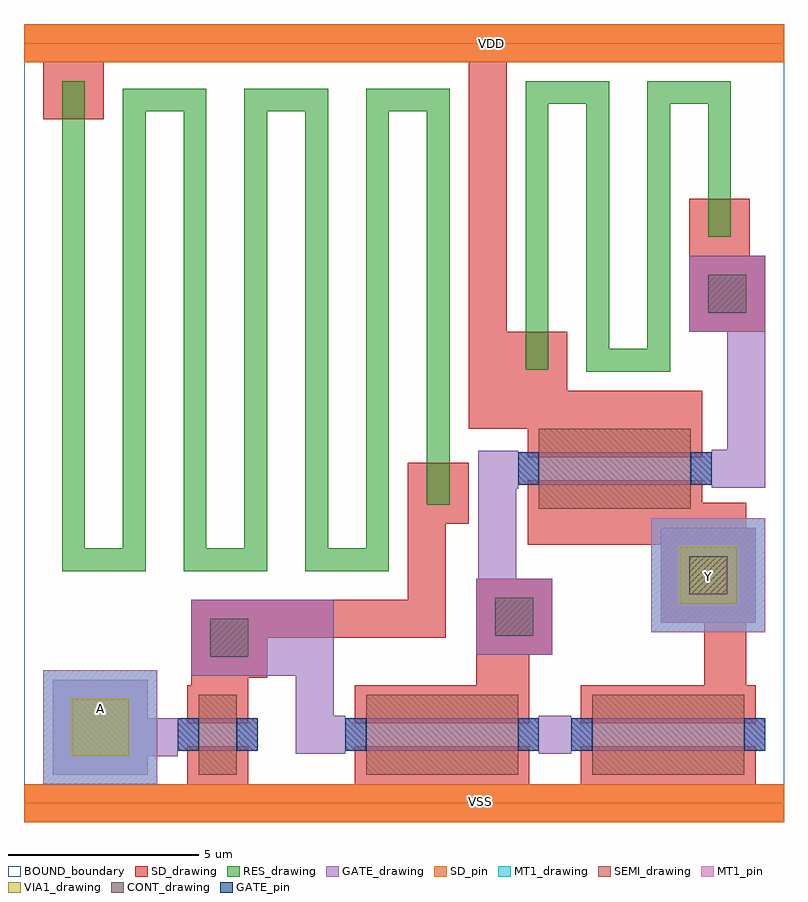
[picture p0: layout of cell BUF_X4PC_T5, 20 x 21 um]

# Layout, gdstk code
from math import pi, radians
import gdstk
lib = gdstk.Library(unit=1e-6, precision=1e-09)
def R(c, l, rs):  # rectangles x0, y0, x1, y1
    for r in rs: c.add(gdstk.rectangle(r[:2], r[2:], *l))
def P(c, l, *ps):  # polygons
    for p in ps: c.add(gdstk.Polygon(p, *l))
RES_drawing = (1, 0)
SEMI_drawing = (3, 0)
SD_drawing = (10, 0)
SD_pin = (10, 3)
GATE_drawing = (11, 0)
GATE_pin = (11, 3)
MT1_drawing = (20, 0)
MT1_pin = (20, 3)
CONT_drawing = (30, 0)
VIA1_drawing = (41, 0)
BOUND_boundary = (150, 5)

nch_cdns_772544864100 = lib.new_cell('nch_CDNS_772544864100')
R(nch_cdns_772544864100, SEMI_drawing, [(-1.05,-2,1.05,2)])
R(nch_cdns_772544864100, SD_drawing, [(-1.3,-2.3,-0.3,2.3), (0.3,-2.3,1.3,2.3)])
R(nch_cdns_772544864100, GATE_drawing, [(-0.425,-2.55,0.425,2.55)])
R(nch_cdns_772544864100, GATE_pin, [(-0.425,-2.55,0.425,-2), (-0.425,2,0.425,2.55)])

nch_cdns_772544864101 = lib.new_cell('nch_CDNS_772544864101')
R(nch_cdns_772544864101, SEMI_drawing, [(-1.05,-0.5,1.05,0.5)])
R(nch_cdns_772544864101, SD_drawing, [(-1.3,-0.8,-0.3,0.8), (0.3,-0.8,1.3,0.8)])
R(nch_cdns_772544864101, GATE_drawing, [(-0.425,-1.05,0.425,1.05)])
R(nch_cdns_772544864101, GATE_pin, [(-0.425,-1.05,0.425,-0.5), (-0.425,0.5,0.425,1.05)])

gate_mt1_cdns_7725448641 = lib.new_cell('GATE_MT1_CDNS_772544864100')
R(gate_mt1_cdns_7725448641, GATE_drawing, [(-1.25,-1.25,1.25,1.25)])
R(gate_mt1_cdns_7725448641, MT1_drawing, [(-1.25,-1.25,1.25,1.25)])
R(gate_mt1_cdns_7725448641, VIA1_drawing, [(-0.75,-0.75,0.75,0.75)])

sd_gate_cdns_77254486410 = lib.new_cell('SD_GATE_CDNS_772544864101')
R(sd_gate_cdns_77254486410, SD_drawing, [(-1,-1,1,1)])
R(sd_gate_cdns_77254486410, GATE_drawing, [(-1,-1,1,1)])
R(sd_gate_cdns_77254486410, CONT_drawing, [(-0.5,-0.5,0.5,0.5)])

buf_x4pc_t5 = lib.new_cell('BUF_X4PC_T5')
R(buf_x4pc_t5, SD_drawing, [(4.4,3.1,5.9,3.3), (16.75,4.75,19.25,7.25), (10.1,7.35,11.7,8.95), (12.7,10.85,14.3,12.4), (0.5,18,2.1,19.5)])
R(buf_x4pc_t5, SD_pin, [(0,-0.5,20,0.5), (0,19.5,20,20.5)])
R(buf_x4pc_t5, GATE_drawing, [(4.4,3.35,8.15,5.35)])
P(buf_x4pc_t5, GATE_drawing, [(14.3,1.3),(14.3,2.3),(14.4,2.3),(14.4,2.175),(14.45,2.175),(14.45,1.425),(14.4,1.425),(14.4,1.3)],
  [(13.65,1.3),(13.65,2.3),(13.55,2.3),(13.55,2.175),(13.5,2.175),(13.5,1.425),(13.55,1.425),(13.55,1.3)],
  [(12.9,9.275),(12.9,8.275),(13,8.275),(13,8.425),(13.05,8.425),(13.05,9.175),(13,9.175),(13,9.275)],
  [(18.2,8.3),(18.2,9.3),(18.1,9.3),(18.1,9.175),(18.05,9.175),(18.05,8.425),(18.1,8.425),(18.1,8.3)],
  [(3.95,2.225),(3.95,1.225),(4.05,1.225),(4.05,1.45),(4.1,1.45),(4.1,2.2),(4.05,2.2),(4.05,2.225)],
  [(8.35,2.3),(8.35,1.3),(8.45,1.3),(8.45,1.425),(8.5,1.425),(8.5,2.175),(8.45,2.175),(8.45,2.3)])
R(buf_x4pc_t5, MT1_drawing, [(0.5,0.5,3.5,3.5), (16.5,4.5,19.5,7.5)])
R(buf_x4pc_t5, MT1_pin, [(0.5,0.5,3.5,3.5), (16.5,4.5,19.5,7.5)])
R(buf_x4pc_t5, BOUND_boundary, [(0,0,20,20)])
buf_x4pc_t5.add(gdstk.FlexPath([(7.65,3.85),(7.65,1.8)], 1, ends="extended", simple_path=True, layer=11, datatype=0))  # GATE_drawing
buf_x4pc_t5.add(gdstk.FlexPath([(5.4,4.3),(5.4,4.8)], 2, ends=(0, 0.5), simple_path=True, layer=11, datatype=0))  # GATE_drawing
buf_x4pc_t5.add(gdstk.FlexPath([(19,8.8),(19,12.4)], 1, ends=(0.5, 0), simple_path=True, layer=11, datatype=0))  # GATE_drawing
buf_x4pc_t5.add(gdstk.FlexPath([(3.95,1.725),(3.25,1.725)], 1, ends="flush", simple_path=True, layer=11, datatype=0))  # GATE_drawing
buf_x4pc_t5.add(gdstk.FlexPath([(18.2,8.8),(19,8.8)], 1, ends=(0, 0.5), simple_path=True, layer=11, datatype=0))  # GATE_drawing
buf_x4pc_t5.add(gdstk.FlexPath([(12.45,8.775),(12.9,8.775)], 1, ends=(0.5, 0), simple_path=True, layer=11, datatype=0))  # GATE_drawing
buf_x4pc_t5.add(gdstk.FlexPath([(5.4,4.8),(6.4,4.8)], 1, ends=(1, 0), simple_path=True, layer=11, datatype=0))  # GATE_drawing
buf_x4pc_t5.add(gdstk.FlexPath([(14.3,1.8),(13.65,1.8)], 1, ends="flush", simple_path=True, layer=11, datatype=0))  # GATE_drawing
buf_x4pc_t5.add(gdstk.FlexPath([(7.65,4.85),(7.65,3.85)], 1, ends="extended", simple_path=True, layer=11, datatype=0))  # GATE_drawing
buf_x4pc_t5.add(gdstk.FlexPath([(7.65,1.8),(8.35,1.8)], 1, ends=(0.5, 0), simple_path=True, layer=11, datatype=0))  # GATE_drawing
buf_x4pc_t5.add(gdstk.FlexPath([(12.45,3.9),(12.45,8.775)], 1, ends=(0, 0.5), simple_path=True, layer=11, datatype=0))  # GATE_drawing
buf_x4pc_t5.add(gdstk.FlexPath([(5.4,3.8),(5.4,4.3)], 2, ends=(0.5, 0), simple_path=True, layer=10, datatype=0))  # SD_drawing
buf_x4pc_t5.add(gdstk.FlexPath([(12.2,10.35),(12.2,19.5)], 1, ends=(0.5, 0), simple_path=True, layer=10, datatype=0))  # SD_drawing
buf_x4pc_t5.add(gdstk.FlexPath([(6.4,3.8),(5.4,3.8)], 1, ends=(0, 1), simple_path=True, layer=10, datatype=0))  # SD_drawing
buf_x4pc_t5.add(gdstk.FlexPath([(20,20),(0,20)], 1, ends="flush", simple_path=True, layer=10, datatype=0))  # SD_drawing
buf_x4pc_t5.add(gdstk.FlexPath([(12.6,3.1),(12.6,5.9)], 1.4, ends="flush", simple_path=True, layer=10, datatype=0))  # SD_drawing
buf_x4pc_t5.add(gdstk.FlexPath([(17.85,10.35),(12.2,10.35)], 1, ends=(0, 0.5), simple_path=True, layer=10, datatype=0))  # SD_drawing
buf_x4pc_t5.add(gdstk.FlexPath([(18.45,3.1),(18.45,7.35)], 1.1, ends=(0, 0.55), simple_path=True, layer=10, datatype=0))  # SD_drawing
buf_x4pc_t5.add(gdstk.FlexPath([(18.3,14.4),(18.3,15.9)], 1.6, ends="flush", simple_path=True, layer=10, datatype=0))  # SD_drawing
buf_x4pc_t5.add(gdstk.FlexPath([(10.6,4.85),(10.6,7.35)], 1, ends=(0.5, 0), simple_path=True, layer=10, datatype=0))  # SD_drawing
buf_x4pc_t5.add(gdstk.FlexPath([(18.45,7.35),(13.25,7.35)], 1.1, ends=(0.55, 0), simple_path=True, layer=10, datatype=0))  # SD_drawing
buf_x4pc_t5.add(gdstk.FlexPath([(6.4,4.85),(10.6,4.85)], 1, ends=(0, 0.5), simple_path=True, layer=10, datatype=0))  # SD_drawing
buf_x4pc_t5.add(gdstk.FlexPath([(0,0),(20,0)], 1, ends="flush", simple_path=True, layer=10, datatype=0))  # SD_drawing
buf_x4pc_t5.add(gdstk.FlexPath([(15.1,18.7),(15.1,11.65)], 0.6, ends="extended", simple_path=True, layer=1, datatype=0))  # RES_drawing
buf_x4pc_t5.add(gdstk.FlexPath([(13.5,11.4),(13.5,18.7)], 0.6, ends=(0, 0.3), simple_path=True, layer=1, datatype=0))  # RES_drawing
buf_x4pc_t5.add(gdstk.FlexPath([(16.7,18.7),(18.3,18.7)], 0.6, ends="extended", simple_path=True, layer=1, datatype=0))  # RES_drawing
buf_x4pc_t5.add(gdstk.FlexPath([(18.3,18.7),(18.3,14.9)], 0.6, ends=(0.3, 0), simple_path=True, layer=1, datatype=0))  # RES_drawing
buf_x4pc_t5.add(gdstk.FlexPath([(13.5,18.7),(15.1,18.7)], 0.6, ends="extended", simple_path=True, layer=1, datatype=0))  # RES_drawing
buf_x4pc_t5.add(gdstk.FlexPath([(16.7,11.65),(16.7,18.7)], 0.6, ends="extended", simple_path=True, layer=1, datatype=0))  # RES_drawing
buf_x4pc_t5.add(gdstk.FlexPath([(1.3,19),(1.3,6.4),(2.9,6.4),(2.9,18.5),(4.5,18.5),(4.5,6.4),(6.1,6.4),(6.1,18.5),(7.7,18.5),(7.7,6.4),(9.3,6.4),(9.3,18.5),(10.9,18.5),(10.9,7.85)], 0.6, ends="flush", simple_path=True, layer=1, datatype=0))  # RES_drawing
buf_x4pc_t5.add(gdstk.FlexPath([(15.1,11.65),(16.7,11.65)], 0.6, ends="extended", simple_path=True, layer=1, datatype=0))  # RES_drawing
buf_x4pc_t5.add(gdstk.Reference(nch_cdns_772544864100, (16.95,1.8), rotation=pi/2))
buf_x4pc_t5.add(gdstk.Reference(nch_cdns_772544864100, (15.55,8.8), rotation=3*pi/2))
buf_x4pc_t5.add(gdstk.Reference(nch_cdns_772544864100, (11,1.8), rotation=pi/2, x_reflection=True))
buf_x4pc_t5.add(gdstk.Reference(nch_cdns_772544864101, (5.1,1.8), rotation=pi/2))
buf_x4pc_t5.add(gdstk.Reference(gate_mt1_cdns_7725448641, (18,6)))
buf_x4pc_t5.add(gdstk.Reference(gate_mt1_cdns_7725448641, (2,2)))
buf_x4pc_t5.add(gdstk.Reference(sd_gate_cdns_77254486410, (12.9,4.9)))
buf_x4pc_t5.add(gdstk.Reference(sd_gate_cdns_77254486410, (5.4,4.35)))
buf_x4pc_t5.add(gdstk.Reference(sd_gate_cdns_77254486410, (18.5,13.4)))
buf_x4pc_t5.add(gdstk.Reference(sd_gate_cdns_77254486410, (18,6)))
buf_x4pc_t5.add(gdstk.Label('VDD', (12.3,20), layer=10, texttype=3))
buf_x4pc_t5.add(gdstk.Label('VSS', (12,0.05), layer=10, texttype=3))
buf_x4pc_t5.add(gdstk.Label('Y', (18,5.95), layer=20, texttype=3))
buf_x4pc_t5.add(gdstk.Label('Y', (18,5.95), layer=20, texttype=3))
buf_x4pc_t5.add(gdstk.Label('Y', (18,5.95), layer=20, texttype=3))
buf_x4pc_t5.add(gdstk.Label('A', (2,2.475), layer=20, texttype=3))

lib.write_gds('BUF_X4PC_T5.gds')
